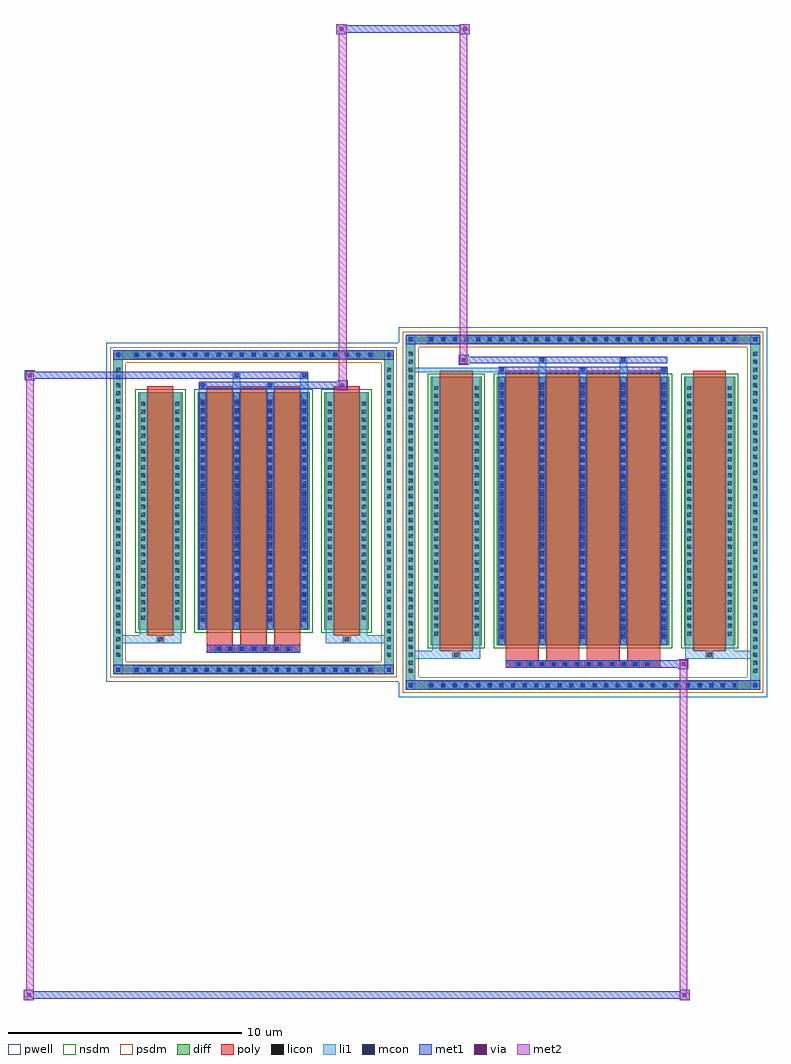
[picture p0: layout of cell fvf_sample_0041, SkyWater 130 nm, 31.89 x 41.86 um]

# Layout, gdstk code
import gdstk
lib = gdstk.Library(unit=1e-6, precision=1e-09)
def R(c, l, rs):  # rectangles x0, y0, x1, y1
    for r in rs: c.add(gdstk.rectangle(r[:2], r[2:], *l))
def A(c, l, x, y, w, h, nx, ny, dx, dy):  # array of equal rectangles
    R(c, l, [(x+i*dx, y+j*dy, x+i*dx+w, y+j*dy+h) for i in range(nx) for j in range(ny)])
def P(c, l, *ps):  # polygons
    for p in ps: c.add(gdstk.Polygon(p, *l))
pwell = (64, 44)
diff = (65, 20)
poly = (66, 20)
licon = (66, 44)
li1 = (67, 20)
mcon = (67, 44)
met1 = (68, 20)
via = (68, 44)
met2 = (69, 20)
nsdm = (93, 44)
psdm = (94, 20)

fvf_sample_0041 = lib.new_cell('fvf_sample_0041')
R(fvf_sample_0041, pwell, [(6.225,-7.928,22.031,7.928), (-6.325,-7.266,6.325,7.266)])
A(fvf_sample_0041, diff, 7.423, -7.618, 0.41, 0.41, 27, 2, 0.5, 14.826)
A(fvf_sample_0041, diff, 6.535, -7.005, 0.41, 0.41, 1, 41, 0, 0.34)
A(fvf_sample_0041, diff, 21.311, -7.005, 0.41, 0.41, 1, 41, 0, 0.34)
A(fvf_sample_0041, diff, -5.205, -6.956, 0.41, 0.41, 21, 2, 0.5, 13.502)
A(fvf_sample_0041, diff, -6.015, -6.325, 0.41, 0.41, 1, 37, 0, 0.34)
A(fvf_sample_0041, diff, 5.605, -6.325, 0.41, 0.41, 1, 37, 0, 0.34)
R(fvf_sample_0041, diff, [(7.423,-7.618,20.833,-7.208), (6.535,-7.005,6.945,7.005), (21.311,-7.005,21.721,7.005), (-5.205,-6.956,5.205,-6.546), (-6.015,-6.325,-5.605,6.325), (5.605,-6.325,6.015,6.325), (7.605,-5.697,9.791,5.813), (10.431,-5.697,17.825,5.813), (18.465,-5.697,20.651,5.813), (-4.945,-5.035,-3.043,5.151), (-2.403,-5.035,2.403,5.151), (3.043,-5.035,4.945,5.151), (-5.205,6.546,5.205,6.956), (7.423,7.208,20.833,7.618)])
P(fvf_sample_0041, diff, [(6.015,6.956),(-6.015,6.956),(-6.015,-6.546),(-5.605,-6.546),(-5.605,6.546),(5.605,6.546),(5.605,-6.546),(-5.605,-6.546),(-6.015,-6.546),(-6.015,-6.956),(6.015,-6.956)],
  [(21.721,7.618),(6.535,7.618),(6.535,-7.208),(6.945,-7.208),(6.945,7.208),(21.311,7.208),(21.311,-7.208),(6.945,-7.208),(6.535,-7.208),(6.535,-7.618),(21.721,-7.618)])
A(fvf_sample_0041, poly, 11.213, -6.678, 0.33, 0.33, 12, 1, 0.5, 0)
A(fvf_sample_0041, poly, 10.821, -6.348, 1.406, 0.401, 4, 1, 1.736, 0)
A(fvf_sample_0041, poly, -1.665, -6.016, 0.33, 0.33, 7, 1, 0.5, 0)
A(fvf_sample_0041, poly, 10.821, -5.947, 1.406, 12.01, 4, 1, 1.736, 0)
A(fvf_sample_0041, poly, -2.013, -5.686, 1.122, 0.401, 3, 1, 1.452, 0)
A(fvf_sample_0041, poly, -2.013, -5.285, 1.122, 10.686, 3, 1, 1.452, 0)
R(fvf_sample_0041, poly, [(10.821,-6.678,17.435,-6.348), (8.533,-6.277,8.863,-5.947), (8.533,-6.277,8.863,-5.947), (19.393,-6.277,19.723,-5.947), (19.393,-6.277,19.723,-5.947), (-2.013,-6.016,2.013,-5.686), (7.995,-5.947,9.401,6.063), (18.855,-5.947,20.261,6.063), (-4.159,-5.615,-3.829,-5.285), (-4.159,-5.615,-3.829,-5.285), (3.829,-5.615,4.159,-5.285), (3.829,-5.615,4.159,-5.285), (-4.555,-5.285,-3.433,5.401), (3.433,-5.285,4.555,5.401)])
A(fvf_sample_0041, licon, 7.543, -7.498, 0.17, 0.17, 27, 2, 0.5, 14.826)
A(fvf_sample_0041, licon, 6.655, -6.885, 0.17, 0.17, 1, 41, 0, 0.34)
A(fvf_sample_0041, licon, 21.431, -6.885, 0.17, 0.17, 1, 41, 0, 0.34)
A(fvf_sample_0041, licon, -5.085, -6.836, 0.17, 0.17, 21, 2, 0.5, 13.502)
A(fvf_sample_0041, licon, 11.293, -6.598, 0.17, 0.17, 12, 1, 0.5, 0)
A(fvf_sample_0041, licon, -5.895, -6.205, 0.17, 0.17, 1, 37, 0, 0.34)
A(fvf_sample_0041, licon, 5.725, -6.205, 0.17, 0.17, 1, 37, 0, 0.34)
A(fvf_sample_0041, licon, -1.585, -5.936, 0.17, 0.17, 7, 1, 0.5, 0)
A(fvf_sample_0041, licon, 7.745, -5.297, 0.17, 0.17, 1, 32, 0, 0.34)
A(fvf_sample_0041, licon, 9.481, -5.297, 0.17, 0.17, 1, 32, 0, 0.34)
A(fvf_sample_0041, licon, 10.571, -5.297, 0.17, 0.17, 5, 32, 1.736, 0.34)
A(fvf_sample_0041, licon, 18.605, -5.297, 0.17, 0.17, 1, 32, 0, 0.34)
A(fvf_sample_0041, licon, 20.341, -5.297, 0.17, 0.17, 1, 32, 0, 0.34)
A(fvf_sample_0041, licon, -4.805, -4.617, 0.17, 0.17, 1, 28, 0, 0.34)
A(fvf_sample_0041, licon, -3.353, -4.617, 0.17, 0.17, 1, 28, 0, 0.34)
A(fvf_sample_0041, licon, -2.263, -4.617, 0.17, 0.17, 4, 28, 1.452, 0.34)
A(fvf_sample_0041, licon, 3.183, -4.617, 0.17, 0.17, 1, 28, 0, 0.34)
A(fvf_sample_0041, licon, 4.635, -4.617, 0.17, 0.17, 1, 28, 0, 0.34)
R(fvf_sample_0041, licon, [(8.613,-6.197,8.783,-6.027), (19.473,-6.197,19.643,-6.027), (-4.079,-5.535,-3.909,-5.365), (3.909,-5.535,4.079,-5.365)])
A(fvf_sample_0041, li1, 7.463, -7.578, 0.33, 0.33, 27, 2, 0.5, 14.826)
A(fvf_sample_0041, li1, 6.575, -6.965, 0.33, 0.33, 1, 41, 0, 0.34)
A(fvf_sample_0041, li1, 21.351, -6.965, 0.33, 0.33, 1, 41, 0, 0.34)
A(fvf_sample_0041, li1, -5.165, -6.916, 0.33, 0.33, 21, 2, 0.5, 13.502)
A(fvf_sample_0041, li1, 11.213, -6.678, 0.33, 0.33, 12, 1, 0.5, 0)
A(fvf_sample_0041, li1, -5.975, -6.285, 0.33, 0.33, 1, 37, 0, 0.34)
A(fvf_sample_0041, li1, 5.645, -6.285, 0.33, 0.33, 1, 37, 0, 0.34)
A(fvf_sample_0041, li1, -1.665, -6.016, 0.33, 0.33, 7, 1, 0.5, 0)
A(fvf_sample_0041, li1, 10.491, -5.697, 0.33, 11.51, 5, 1, 1.736, 0)
A(fvf_sample_0041, li1, 10.571, -5.427, 0.17, 0.17, 5, 31, 1.736, 0.36)
A(fvf_sample_0041, li1, 10.571, -5.427, 0.17, 10.97, 5, 1, 1.736, 0)
A(fvf_sample_0041, li1, 7.665, -5.377, 0.33, 0.33, 1, 32, 0, 0.34)
A(fvf_sample_0041, li1, 9.401, -5.377, 0.33, 0.33, 1, 32, 0, 0.34)
A(fvf_sample_0041, li1, 10.491, -5.377, 0.33, 0.33, 5, 32, 1.736, 0.34)
A(fvf_sample_0041, li1, 18.525, -5.377, 0.33, 0.33, 1, 32, 0, 0.34)
A(fvf_sample_0041, li1, 20.261, -5.377, 0.33, 0.33, 1, 32, 0, 0.34)
A(fvf_sample_0041, li1, -2.343, -5.035, 0.33, 10.186, 4, 1, 1.452, 0)
A(fvf_sample_0041, li1, -2.263, -4.707, 0.17, 0.17, 4, 27, 1.452, 0.36)
A(fvf_sample_0041, li1, -2.263, -4.707, 0.17, 9.53, 4, 1, 1.452, 0)
A(fvf_sample_0041, li1, -4.885, -4.697, 0.33, 0.33, 1, 28, 0, 0.34)
A(fvf_sample_0041, li1, -3.433, -4.697, 0.33, 0.33, 1, 28, 0, 0.34)
A(fvf_sample_0041, li1, -2.343, -4.697, 0.33, 0.33, 4, 28, 1.452, 0.34)
A(fvf_sample_0041, li1, 3.103, -4.697, 0.33, 0.33, 1, 28, 0, 0.34)
A(fvf_sample_0041, li1, 4.555, -4.697, 0.33, 0.33, 1, 28, 0, 0.34)
A(fvf_sample_0041, li1, 10.491, 5.813, 0.33, 0.375, 3, 1, 3.472, 0)
A(fvf_sample_0041, li1, 10.571, 6.018, 0.17, 0.17, 3, 1, 3.472, 0)
R(fvf_sample_0041, li1, [(6.535,-7.618,6.945,-7.208), (21.311,-7.618,21.721,-7.208), (7.463,-7.578,20.793,-7.248), (6.655,-7.498,6.825,-7.328), (6.655,-7.498,6.825,-7.328), (21.431,-7.498,21.601,-7.328), (21.431,-7.498,21.601,-7.328), (6.535,-7.208,6.945,7.208), (21.311,-7.208,21.721,7.208), (-6.015,-6.956,-5.605,-6.546), (5.605,-6.956,6.015,-6.546), (-5.165,-6.916,5.165,-6.586), (-5.895,-6.836,-5.725,-6.666), (-5.895,-6.836,-5.725,-6.666), (5.725,-6.836,5.895,-6.666), (5.725,-6.836,5.895,-6.666), (-6.015,-6.546,-5.605,6.546), (5.605,-6.546,6.015,6.546), (6.535,-6.277,8.533,-5.947), (7.665,-6.277,7.995,-5.697), (7.665,-6.277,8.533,-5.947), (8.533,-6.277,8.863,-5.947), (8.863,-6.277,9.731,-5.947), (9.401,-6.277,9.731,-5.697), (18.525,-6.277,18.855,-5.697), (18.525,-6.277,19.393,-5.947), (19.393,-6.277,19.723,-5.947), (19.393,-6.277,21.721,-5.947), (19.723,-6.277,20.591,-5.947), (20.261,-6.277,20.591,-5.697), (7.665,-5.697,7.995,5.813), (9.401,-5.697,9.731,5.813), (18.525,-5.697,18.855,5.813), (20.261,-5.697,20.591,5.813), (-6.015,-5.615,-4.159,-5.285), (-4.885,-5.615,-4.159,-5.285), (-4.885,-5.615,-4.555,-5.035), (-4.159,-5.615,-3.829,-5.285), (-3.829,-5.615,-3.103,-5.285), (-3.433,-5.615,-3.103,-5.035), (3.103,-5.615,3.829,-5.285), (3.103,-5.615,3.433,-5.035), (3.829,-5.615,4.159,-5.285), (3.829,-5.615,6.015,-5.285), (4.159,-5.615,4.885,-5.285), (4.555,-5.615,4.885,-5.035), (-4.885,-5.035,-4.555,5.151), (-3.433,-5.035,-3.103,5.151), (3.103,-5.035,3.433,5.151), (4.555,-5.035,4.885,5.151), (-2.343,5.151,-2.013,5.526), (-0.891,5.151,-0.561,5.956), (0.561,5.151,0.891,5.526), (2.013,5.151,2.343,5.956), (-2.263,5.356,-2.093,5.526), (0.641,5.356,0.811,5.526), (-0.811,5.786,-0.641,5.956), (2.093,5.786,2.263,5.956), (12.227,5.813,12.557,6.618), (15.699,5.813,16.029,6.618), (10.511,5.958,10.801,6.248), (6.535,6.003,10.511,6.203), (10.571,6.018,10.741,6.188), (12.307,6.448,12.477,6.618), (15.779,6.448,15.949,6.618), (-6.015,6.546,-5.605,6.956), (5.605,6.546,6.015,6.956), (-5.165,6.586,5.165,6.916), (-5.895,6.666,-5.725,6.836), (-5.895,6.666,-5.725,6.836), (5.725,6.666,5.895,6.836), (5.725,6.666,5.895,6.836), (6.535,7.208,6.945,7.618), (21.311,7.208,21.721,7.618), (7.463,7.248,20.793,7.578), (6.655,7.328,6.825,7.498), (6.655,7.328,6.825,7.498), (21.431,7.328,21.601,7.498), (21.431,7.328,21.601,7.498)])
A(fvf_sample_0041, mcon, 7.543, -7.498, 0.17, 0.17, 27, 2, 0.5, 14.826)
A(fvf_sample_0041, mcon, -5.085, -6.836, 0.17, 0.17, 21, 2, 0.5, 13.502)
A(fvf_sample_0041, mcon, 11.293, -6.598, 0.17, 0.17, 12, 1, 0.5, 0)
A(fvf_sample_0041, mcon, -1.585, -5.936, 0.17, 0.17, 7, 1, 0.5, 0)
A(fvf_sample_0041, mcon, 10.571, -5.427, 0.17, 0.17, 5, 31, 1.736, 0.36)
A(fvf_sample_0041, mcon, -2.263, -4.707, 0.17, 0.17, 4, 27, 1.452, 0.36)
A(fvf_sample_0041, mcon, 10.571, 6.018, 0.17, 0.17, 3, 1, 3.472, 0)
R(fvf_sample_0041, mcon, [(6.655,-7.498,6.825,-7.328), (21.431,-7.498,21.601,-7.328), (-5.895,-6.836,-5.725,-6.666), (5.725,-6.836,5.895,-6.666), (-2.263,5.356,-2.093,5.526), (0.641,5.356,0.811,5.526), (-0.811,5.786,-0.641,5.956), (2.093,5.786,2.263,5.956), (10.571,6.018,10.741,6.188), (12.307,6.448,12.477,6.618), (15.779,6.448,15.949,6.618), (-5.895,6.666,-5.725,6.836), (5.725,6.666,5.895,6.836), (6.655,7.328,6.825,7.498), (21.431,7.328,21.601,7.498)])
A(fvf_sample_0041, met1, 7.483, -7.558, 0.29, 0.29, 27, 2, 0.5, 14.826)
A(fvf_sample_0041, met1, -5.145, -6.896, 0.29, 0.29, 21, 2, 0.5, 13.502)
A(fvf_sample_0041, met1, 11.233, -6.658, 0.29, 0.29, 12, 1, 0.5, 0)
A(fvf_sample_0041, met1, -1.645, -5.996, 0.29, 0.29, 7, 1, 0.5, 0)
A(fvf_sample_0041, met1, 10.511, -5.697, 0.29, 11.51, 5, 1, 1.736, 0)
A(fvf_sample_0041, met1, 10.511, -5.487, 0.29, 0.29, 5, 31, 1.736, 0.36)
A(fvf_sample_0041, met1, -2.323, -5.035, 0.29, 10.186, 4, 1, 1.452, 0)
A(fvf_sample_0041, met1, -2.323, -4.767, 0.29, 0.29, 4, 27, 1.452, 0.36)
A(fvf_sample_0041, met1, 10.511, 5.958, 0.29, 0.29, 3, 1, 3.472, 0)
R(fvf_sample_0041, met1, [(-9.854,-20.919,-9.424,-20.489), (18.27,-20.919,18.7,-20.489), (-9.854,-20.869,18.7,-20.539), (-9.854,-20.539,-9.424,-20.489), (18.27,-20.539,18.7,-20.489), (6.535,-7.618,6.945,-7.208), (6.535,-7.618,6.945,-7.208), (6.945,-7.618,21.311,-7.208), (21.311,-7.618,21.721,-7.208), (21.311,-7.618,21.721,-7.208), (6.595,-7.558,6.885,-7.268), (21.371,-7.558,21.661,-7.268), (-6.015,-6.956,-5.605,-6.546), (-6.015,-6.956,-5.605,-6.546), (-5.605,-6.956,5.605,-6.546), (5.605,-6.956,6.015,-6.546), (5.605,-6.956,6.015,-6.546), (-5.955,-6.896,-5.665,-6.606), (5.665,-6.896,5.955,-6.606), (18.22,-6.728,18.65,-6.298), (10.821,-6.678,17.435,-6.348), (17.435,-6.678,18.22,-6.348), (-2.013,-6.016,2.013,-5.686), (3.608,5.226,4.038,5.656), (-2.323,5.296,-2.033,5.586), (-2.323,5.296,2.323,5.586), (0.581,5.296,0.871,5.586), (2.323,5.296,3.608,5.586), (-9.804,5.656,-9.374,6.086), (-9.374,5.726,-2.323,6.016), (-2.323,5.726,2.323,6.016), (-0.871,5.726,-0.581,6.016), (2.033,5.726,2.323,6.016), (10.511,5.958,10.801,6.248), (10.511,5.958,17.745,6.248), (8.796,6.318,9.226,6.748), (9.226,6.388,10.511,6.678), (10.511,6.388,17.745,6.678), (12.247,6.388,12.537,6.678), (15.719,6.388,16.009,6.678), (-6.015,6.546,-5.605,6.956), (-6.015,6.546,-5.605,6.956), (-5.605,6.546,5.605,6.956), (5.605,6.546,6.015,6.956), (5.605,6.546,6.015,6.956), (-5.955,6.606,-5.665,6.896), (5.665,6.606,5.955,6.896), (6.535,7.208,6.945,7.618), (6.535,7.208,6.945,7.618), (6.945,7.208,21.311,7.618), (21.311,7.208,21.721,7.618), (21.311,7.208,21.721,7.618), (6.595,7.268,6.885,7.558), (21.371,7.268,21.661,7.558), (3.558,20.509,3.988,20.939), (8.846,20.509,9.276,20.939), (3.558,20.559,9.276,20.889), (3.558,20.889,3.988,20.939), (8.846,20.889,9.276,20.939)])
R(fvf_sample_0041, via, [(-9.714,-20.779,-9.564,-20.629), (18.41,-20.779,18.56,-20.629), (18.36,-6.588,18.51,-6.438), (3.748,5.366,3.898,5.516), (-9.664,5.796,-9.514,5.946), (8.936,6.458,9.086,6.608), (3.698,20.649,3.848,20.799), (8.986,20.649,9.136,20.799)])
R(fvf_sample_0041, met2, [(-9.854,-20.919,-9.424,-20.489), (-9.754,-20.919,-9.424,5.706), (18.27,-20.919,18.7,-20.489), (18.27,-20.919,18.6,-6.678), (-9.804,-20.869,-9.474,-20.539), (18.32,-20.869,18.65,-20.539), (18.27,-6.678,18.6,-6.348), (3.658,5.276,3.988,5.606), (3.658,5.606,3.988,20.939), (-9.754,5.706,-9.424,6.036), (8.846,6.368,9.176,6.698), (8.846,6.698,9.176,20.939), (3.558,20.509,3.988,20.939), (8.846,20.509,9.276,20.939), (3.608,20.559,3.938,20.889), (8.896,20.559,9.226,20.889)])
R(fvf_sample_0041, nsdm, [(7.475,-5.827,9.921,5.943), (10.301,-5.827,17.955,5.943), (18.335,-5.827,20.781,5.943), (-5.075,-5.165,-2.913,5.281), (-2.533,-5.165,2.533,5.281), (2.913,-5.165,5.075,5.281)])
P(fvf_sample_0041, psdm, [(6.145,7.086),(-6.145,7.086),(-6.145,-6.416),(-5.475,-6.416),(-5.475,6.416),(5.475,6.416),(5.475,-6.416),(-5.475,-6.416),(-6.145,-6.416),(-6.145,-7.086),(6.145,-7.086)],
  [(21.851,7.748),(6.405,7.748),(6.405,-7.078),(7.075,-7.078),(7.075,7.078),(21.181,7.078),(21.181,-7.078),(7.075,-7.078),(6.405,-7.078),(6.405,-7.748),(21.851,-7.748)])

lib.write_gds('fvf_sample_0041.gds')
